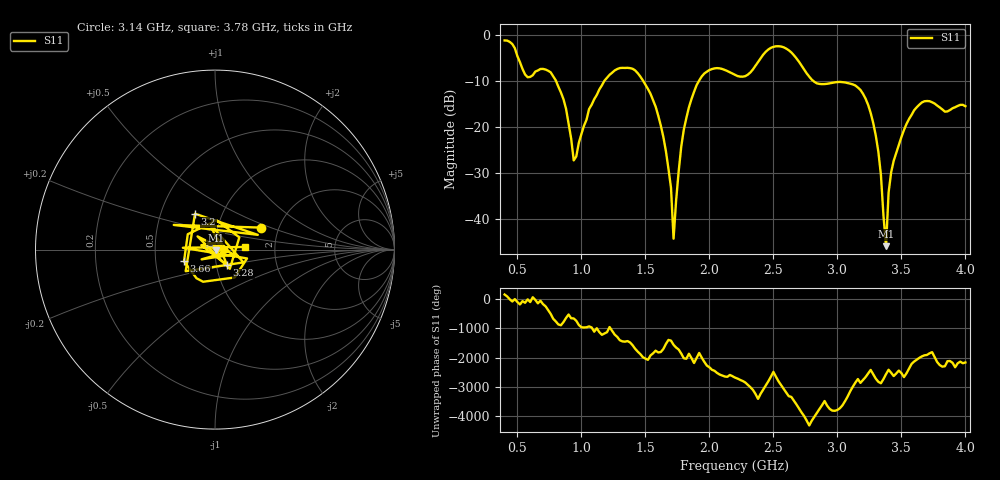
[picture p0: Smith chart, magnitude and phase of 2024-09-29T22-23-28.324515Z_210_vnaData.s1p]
!Created with skrf (http://scikit-rf.org).
# Hz S RI R 50.0
!freq ReS11 ImS11
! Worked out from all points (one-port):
!   181 points, 400 MHz to 4 GHz, reference 50 ohm
!   lowest |S11| = -45.9 dB at 3.38 GHz (marker M1), VSWR 1.01, Z = 50.4 - j0.349 ohm
!   |S11| at or under -10 dB: 801.4 MHz to 1.179 GHz (377.7 MHz wide, 38.1 % of centre); 1.483 GHz to 1.918 GHz (435.8 MHz wide, 25.6 % of centre); 2.811 GHz to end of sweep
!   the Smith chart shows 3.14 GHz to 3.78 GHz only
!   S11 on the Smith chart (normalised r, x): 3.14 GHz: 1.61, +0.43; 3.2 GHz: 0.74, +0.31; 3.28 GHz: 1.13, -0.20; 3.66 GHz: 0.70, -0.09; 3.78 GHz: 1.41, +0.04
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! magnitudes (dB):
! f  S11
! 400 MHz  -1.2
! 860 MHz  -14.0
! 940 MHz  -27.3
! 1.06 GHz  -16.1
! 1.3 GHz  -7.2
! 1.58 GHz  -15.6
! 1.68 GHz  -29.1
! 1.7 GHz  -33.3
! 1.72 GHz  -44.3
! 1.76 GHz  -29.7
! 1.82 GHz  -18.1
! 1.92 GHz  -9.9
! 2.2 GHz  -8.7
! 2.5 GHz  -2.6
! 2.66 GHz  -4.4
! 2.84 GHz  -10.5
! 3.1 GHz  -10.6
! 3.14 GHz  -11.0
! 3.2 GHz  -12.8
! 3.28 GHz  -19.2
! 3.34 GHz  -30.4
! 3.38 GHz  -45.9
! 3.4 GHz  -34.3
! 3.42 GHz  -29.9
! 3.56 GHz  -18.3
! 3.66 GHz  -14.7
! 3.78 GHz  -15.4
! 4 GHz  -15.5
